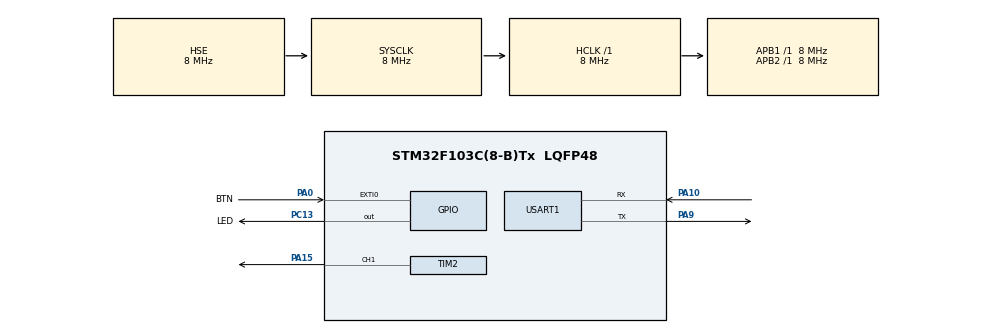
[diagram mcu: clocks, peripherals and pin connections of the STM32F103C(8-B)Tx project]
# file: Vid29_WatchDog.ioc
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IWDG.Prescaler=IWDG_PRESCALER_16
IWDG.Reload=2500
Mcu.Family=STM32F1
Mcu.Name=STM32F103C(8-B)Tx
Mcu.Package=LQFP48
NVIC.EXTI0_IRQn=true\:0\:0\:false\:false\:true\:true\:true\:true
NVIC.PriorityGroup=NVIC_PRIORITYGROUP_4
NVIC.TIM2_IRQn=true\:0\:0\:false\:false\:true\:true\:true\:true
PA0-WKUP.GPIO_Label=BTN
PA0-WKUP.GPIO_ModeDefaultEXTI=GPIO_MODE_IT_RISING
PA0-WKUP.GPIO_PuPd=GPIO_PULLUP
PA0-WKUP.Signal=GPXTI0
PA10.Mode=Asynchronous
PA10.Signal=USART1_RX
PA13.Mode=Serial_Wire
PA13.Signal=SYS_JTMS-SWDIO
PA14.Mode=Serial_Wire
PA14.Signal=SYS_JTCK-SWCLK
PA15.Signal=S_TIM2_CH1_ETR
PA9.Mode=Asynchronous
PA9.Signal=USART1_TX
PC13-TAMPER-RTC.GPIO_Label=LED
PC13-TAMPER-RTC.GPIO_ModeDefaultOutputPP=GPIO_MODE_OUTPUT_OD
PC13-TAMPER-RTC.GPIO_PuPd=GPIO_NOPULL
PC13-TAMPER-RTC.PinState=GPIO_PIN_SET
PC13-TAMPER-RTC.Signal=GPIO_Output
PD0-OSC_IN.Mode=HSE-External-Oscillator
PD0-OSC_IN.Signal=RCC_OSC_IN
PD1-OSC_OUT.Mode=HSE-External-Oscillator
PD1-OSC_OUT.Signal=RCC_OSC_OUT
ProjectManager.HeapSize=0x200
ProjectManager.StackSize=0x400
ProjectManager.TargetToolchain=STM32CubeIDE
RCC.AHBFreq_Value=8000000
RCC.APB1Freq_Value=8000000
RCC.APB1TimFreq_Value=8000000
RCC.APB2Freq_Value=8000000
RCC.APB2TimFreq_Value=8000000
RCC.HCLKFreq_Value=8000000
RCC.SYSCLKFreq_VALUE=8000000
RCC.SYSCLKSource=RCC_SYSCLKSOURCE_HSE
RCC.USBFreq_Value=8000000
SH.S_TIM2_CH1_ETR.0=TIM2_CH1,PWM Generation1 CH1
TIM2.Channel-PWM\ Generation1\ CH1=TIM_CHANNEL_1
TIM2.Period=999
TIM2.Prescaler=7999
TIM2.Pulse-PWM\ Generation1\ CH1=499
USART1.VirtualMode=VM_ASYNC
VP_IWDG_VS_IWDG.Mode=IWDG_Activate
VP_TIM2_VS_ClockSourceINT.Mode=Internal
VP_WWDG_VS_WWDG.Mode=WWDG_Activate
board=custom

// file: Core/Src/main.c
/* USER CODE BEGIN Header */
/**
  ******************************************************************************
  * @file           : main.c
  * @brief          : Main program body
  ******************************************************************************
  * @attention
  *
  * Copyright (c) 2026 STMicroelectronics.
  * All rights reserved.
  *
  * This software is licensed under terms that can be found in the LICENSE file
  * in the root directory of this software component.
  * If no LICENSE file comes with this software, it is provided AS-IS.
  *
  ******************************************************************************
  */
/* USER CODE END Header */
#include "main.h"

/* USER CODE BEGIN Includes */
#include "stdio.h"
/* USER CODE END Includes */

IWDG_HandleTypeDef hiwdg;

TIM_HandleTypeDef htim2;

UART_HandleTypeDef huart1;

void SystemClock_Config(void);
static void MX_GPIO_Init(void);
static void MX_TIM2_Init(void);
static void MX_USART1_UART_Init(void);
static void MX_IWDG_Init(void);

/* USER CODE BEGIN 0 */
int _write(int fd, char* ptr, int len) {
  HAL_StatusTypeDef hstatus;

  if (fd == 1 || fd == 2) {
	hstatus = HAL_UART_Transmit(&huart1, (uint8_t *) ptr, len, HAL_MAX_DELAY);
	if (hstatus == HAL_OK)
	  return len;
	else
	  return -1;
  }
  return -1;
}

/// @brief  Possible STM32 system reset causes
typedef enum reset_cause_e
{
    RESET_CAUSE_UNKNOWN = 0,
    RESET_CAUSE_LOW_POWER_RESET,
    RESET_CAUSE_WINDOW_WATCHDOG_RESET,
    RESET_CAUSE_INDEPENDENT_WATCHDOG_RESET,
    RESET_CAUSE_SOFTWARE_RESET,
    RESET_CAUSE_POWER_ON_POWER_DOWN_RESET,
    RESET_CAUSE_EXTERNAL_RESET_PIN_RESET,
    //RESET_CAUSE_BROWNOUT_RESET,
} reset_cause_t;

/// @brief      Obtain the STM32 system reset cause
/// @param      None
/// @return     The system reset cause
reset_cause_t reset_cause_get(void)
{
    reset_cause_t reset_cause;

    if (__HAL_RCC_GET_FLAG(RCC_FLAG_LPWRRST))
            {
        reset_cause = RESET_CAUSE_LOW_POWER_RESET;
    }
    else if (__HAL_RCC_GET_FLAG(RCC_FLAG_WWDGRST))
            {
        reset_cause = RESET_CAUSE_WINDOW_WATCHDOG_RESET;
    }
    else if (__HAL_RCC_GET_FLAG(RCC_FLAG_IWDGRST))
            {
        reset_cause = RESET_CAUSE_INDEPENDENT_WATCHDOG_RESET;
    }
    else if (__HAL_RCC_GET_FLAG(RCC_FLAG_SFTRST))
            {
        // This reset is induced by calling the ARM CMSIS
        // `NVIC_SystemReset()` function!
        reset_cause = RESET_CAUSE_SOFTWARE_RESET;
    }
    else if (__HAL_RCC_GET_FLAG(RCC_FLAG_PORRST))
            {
        reset_cause = RESET_CAUSE_POWER_ON_POWER_DOWN_RESET;
    }
    else if (__HAL_RCC_GET_FLAG(RCC_FLAG_PINRST))
            {
        reset_cause = RESET_CAUSE_EXTERNAL_RESET_PIN_RESET;
    }
    // Needs to come *after* checking the `RCC_FLAG_PORRST` flag in order to
    // ensure first that the reset cause is NOT a POR/PDR reset. See note
    // below.
//    else if (__HAL_RCC_GET_FLAG(RCC_FLAG_BORRST))
//            {
//       reset_cause = RESET_CAUSE_BROWNOUT_RESET;
//    }
    else
    {
        reset_cause = RESET_CAUSE_UNKNOWN;
    }

    // Clear all the reset flags or else they will remain set during future
    // resets until system power is fully removed.
    __HAL_RCC_CLEAR_RESET_FLAGS();

    return reset_cause;
}

// Note: any of the STM32 Hardware Abstraction Layer (HAL) Reset and Clock
// Controller (RCC) header files, such as
// "STM32Cube_FW_F7_V1.12.0/Drivers/STM32F7xx_HAL_Driver/Inc/stm32f7xx_hal_rcc.h",
// "STM32Cube_FW_F2_V1.7.0/Drivers/STM32F2xx_HAL_Driver/Inc/stm32f2xx_hal_rcc.h",
// etc., indicate that the brownout flag, `RCC_FLAG_BORRST`, will be set in
// the event of a "POR/PDR or BOR reset". This means that a Power-On Reset
// (POR), Power-Down Reset (PDR), OR Brownout Reset (BOR) will trip this flag.
// See the doxygen just above their definition for the
// `__HAL_RCC_GET_FLAG()` macro to see this:
//      "@arg RCC_FLAG_BORRST: POR/PDR or BOR reset." <== indicates the Brownout
//      Reset flag will *also* be set in the event of a POR/PDR.
// Therefore, you must check the Brownout Reset flag, `RCC_FLAG_BORRST`, *after*
// first checking the `RCC_FLAG_PORRST` flag in order to ensure first that the
// reset cause is NOT a POR/PDR reset.

/// @brief      Obtain the system reset cause as an ASCII-printable name string
///             from a reset cause type
/// @param[in]  reset_cause     The previously-obtained system reset cause
/// @return     A null-terminated ASCII name string describing the system
///             reset cause
const char* reset_cause_get_name(reset_cause_t reset_cause)
{
    const char *reset_cause_name = "TBD";

    switch (reset_cause)
    {
    case RESET_CAUSE_UNKNOWN:
        reset_cause_name = "UNKNOWN";
        break;
    case RESET_CAUSE_LOW_POWER_RESET:
        reset_cause_name = "LOW_POWER_RESET";
        break;
    case RESET_CAUSE_WINDOW_WATCHDOG_RESET:
        reset_cause_name = "WINDOW_WATCHDOG_RESET";
        break;
    case RESET_CAUSE_INDEPENDENT_WATCHDOG_RESET:
        reset_cause_name = "INDEPENDENT_WATCHDOG_RESET";
        break;
    case RESET_CAUSE_SOFTWARE_RESET:
        reset_cause_name = "SOFTWARE_RESET";
        break;
    case RESET_CAUSE_POWER_ON_POWER_DOWN_RESET:
        reset_cause_name = "POWER-ON_RESET (POR) / POWER-DOWN_RESET (PDR)";
        break;
    case RESET_CAUSE_EXTERNAL_RESET_PIN_RESET:
        reset_cause_name = "EXTERNAL_RESET_PIN_RESET";
        break;
//    case RESET_CAUSE_BROWNOUT_RESET:
//        reset_cause_name = "BROWNOUT_RESET (BOR)";
//        break;
    }

    return reset_cause_name;
}
/* USER CODE END 0 */

int main(void)
{

  /* MCU Configuration--------------------------------------------------------*/

  /* Reset of all peripherals, Initializes the Flash interface and the Systick. */
  HAL_Init();

  /* Configure the system clock */
  SystemClock_Config();

  /* Initialize all configured peripherals */
  MX_GPIO_Init();
  MX_TIM2_Init();
  MX_USART1_UART_Init();
  MX_IWDG_Init();
  /* USER CODE BEGIN 2 */
  reset_cause_t reset_cause = reset_cause_get();
  printf("The system reset cause is \"%s\"\r\n", reset_cause_get_name(reset_cause));
  /* USER CODE END 2 */

  /* Infinite loop */
  /* USER CODE BEGIN WHILE */
  uint32_t wdg_reset_interval = 900;

  uint32_t loop_cnt = 0, now = 0, next_tick = 1000, next_wdg = 0;

  while (1) {

      now = uwTick;

      if (now > next_wdg) {

          HAL_IWDG_Refresh(&hiwdg); // Kick the watchdog!

          next_wdg = now + wdg_reset_interval;
      }

      if (now > next_tick) {

          printf("Tick %lu (loop = %lu)\r\n", now / 1000, loop_cnt);
          if(now / 1000 >= 10) Error_Handler();
          loop_cnt = 0;
          next_tick = now + 1000;
      }

      ++loop_cnt;

    /* USER CODE END WHILE */

  }
}

void SystemClock_Config(void)
{
  RCC_OscInitTypeDef RCC_OscInitStruct = {0};
  RCC_ClkInitTypeDef RCC_ClkInitStruct = {0};

  /** Initializes the RCC Oscillators according to the specified parameters
  * in the RCC_OscInitTypeDef structure.
  */
  RCC_OscInitStruct.OscillatorType = RCC_OSCILLATORTYPE_LSI|RCC_OSCILLATORTYPE_HSE;
  RCC_OscInitStruct.HSEState = RCC_HSE_ON;
  RCC_OscInitStruct.LSIState = RCC_LSI_ON;
  RCC_OscInitStruct.PLL.PLLState = RCC_PLL_NONE;
  if (HAL_RCC_OscConfig(&RCC_OscInitStruct) != HAL_OK)
  {
    Error_Handler();
  }

  /** Initializes the CPU, AHB and APB buses clocks
  */
  RCC_ClkInitStruct.ClockType = RCC_CLOCKTYPE_HCLK|RCC_CLOCKTYPE_SYSCLK
                              |RCC_CLOCKTYPE_PCLK1|RCC_CLOCKTYPE_PCLK2;
  RCC_ClkInitStruct.SYSCLKSource = RCC_SYSCLKSOURCE_HSE;
  RCC_ClkInitStruct.AHBCLKDivider = RCC_SYSCLK_DIV1;
  RCC_ClkInitStruct.APB1CLKDivider = RCC_HCLK_DIV1;
  RCC_ClkInitStruct.APB2CLKDivider = RCC_HCLK_DIV1;

  if (HAL_RCC_ClockConfig(&RCC_ClkInitStruct, FLASH_LATENCY_0) != HAL_OK)
  {
    Error_Handler();
  }
}

static void MX_IWDG_Init(void)
{

  hiwdg.Instance = IWDG;
  hiwdg.Init.Prescaler = IWDG_PRESCALER_16;
  hiwdg.Init.Reload = 2500;
  if (HAL_IWDG_Init(&hiwdg) != HAL_OK)
  {
    Error_Handler();
  }

}

static void MX_TIM2_Init(void)
{

  TIM_ClockConfigTypeDef sClockSourceConfig = {0};
  TIM_MasterConfigTypeDef sMasterConfig = {0};
  TIM_OC_InitTypeDef sConfigOC = {0};

  htim2.Instance = TIM2;
  htim2.Init.Prescaler = 7999;
  htim2.Init.CounterMode = TIM_COUNTERMODE_UP;
  htim2.Init.Period = 999;
  htim2.Init.ClockDivision = TIM_CLOCKDIVISION_DIV1;
  htim2.Init.AutoReloadPreload = TIM_AUTORELOAD_PRELOAD_DISABLE;
  if (HAL_TIM_Base_Init(&htim2) != HAL_OK)
  {
    Error_Handler();
  }
  sClockSourceConfig.ClockSource = TIM_CLOCKSOURCE_INTERNAL;
  if (HAL_TIM_ConfigClockSource(&htim2, &sClockSourceConfig) != HAL_OK)
  {
    Error_Handler();
  }
  if (HAL_TIM_PWM_Init(&htim2) != HAL_OK)
  {
    Error_Handler();
  }
  sMasterConfig.MasterOutputTrigger = TIM_TRGO_RESET;
  sMasterConfig.MasterSlaveMode = TIM_MASTERSLAVEMODE_DISABLE;
  if (HAL_TIMEx_MasterConfigSynchronization(&htim2, &sMasterConfig) != HAL_OK)
  {
    Error_Handler();
  }
  sConfigOC.OCMode = TIM_OCMODE_PWM1;
  sConfigOC.Pulse = 499;
  sConfigOC.OCPolarity = TIM_OCPOLARITY_HIGH;
  sConfigOC.OCFastMode = TIM_OCFAST_DISABLE;
  if (HAL_TIM_PWM_ConfigChannel(&htim2, &sConfigOC, TIM_CHANNEL_1) != HAL_OK)
  {
    Error_Handler();
  }
  HAL_TIM_MspPostInit(&htim2);

}

static void MX_USART1_UART_Init(void)
{

  huart1.Instance = USART1;
  huart1.Init.BaudRate = 115200;
  huart1.Init.WordLength = UART_WORDLENGTH_8B;
  huart1.Init.StopBits = UART_STOPBITS_1;
  huart1.Init.Parity = UART_PARITY_NONE;
  huart1.Init.Mode = UART_MODE_TX_RX;
  huart1.Init.HwFlowCtl = UART_HWCONTROL_NONE;
  huart1.Init.OverSampling = UART_OVERSAMPLING_16;
  if (HAL_UART_Init(&huart1) != HAL_OK)
  {
    Error_Handler();
  }

}

static void MX_GPIO_Init(void)
{
  GPIO_InitTypeDef GPIO_InitStruct = {0};

  /* GPIO Ports Clock Enable */
  __HAL_RCC_GPIOC_CLK_ENABLE();
  __HAL_RCC_GPIOD_CLK_ENABLE();
  __HAL_RCC_GPIOA_CLK_ENABLE();

  /*Configure GPIO pin Output Level */
  HAL_GPIO_WritePin(LED_GPIO_Port, LED_Pin, GPIO_PIN_SET);

  /*Configure GPIO pin : LED_Pin */
  GPIO_InitStruct.Pin = LED_Pin;
  GPIO_InitStruct.Mode = GPIO_MODE_OUTPUT_OD;
  GPIO_InitStruct.Pull = GPIO_NOPULL;
  GPIO_InitStruct.Speed = GPIO_SPEED_FREQ_LOW;
  HAL_GPIO_Init(LED_GPIO_Port, &GPIO_InitStruct);

  /*Configure GPIO pin : BTN_Pin */
  GPIO_InitStruct.Pin = BTN_Pin;
  GPIO_InitStruct.Mode = GPIO_MODE_IT_RISING;
  GPIO_InitStruct.Pull = GPIO_PULLUP;
  HAL_GPIO_Init(BTN_GPIO_Port, &GPIO_InitStruct);

  /* EXTI interrupt init*/
  HAL_NVIC_SetPriority(EXTI0_IRQn, 0, 0);
  HAL_NVIC_EnableIRQ(EXTI0_IRQn);

}

void Error_Handler(void)
{
  __disable_irq();
  while (1)
  {
  }
}
